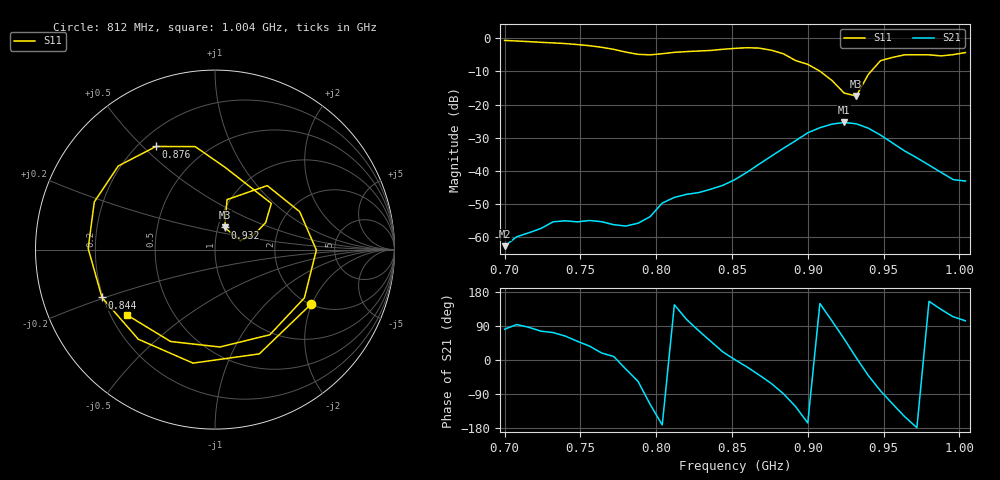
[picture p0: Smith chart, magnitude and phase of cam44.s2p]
# Hz S RI R 50
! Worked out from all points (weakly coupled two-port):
!   39 points, 700 MHz to 1.004 GHz, reference 50 ohm
!   highest |S21| = -25.41 dB at 924 MHz (marker M1); lowest = -62.8 dB at 700 MHz (marker M2)
!   lowest |S11| = -17.4 dB at 932 MHz (marker M3), VSWR 1.31, Z = 53.9 + j13.5 ohm
!   |S11| at or under -10 dB: 908.3 MHz to 941.7 MHz (33.4 MHz wide, 3.61 % of centre)
!   S12 and S22 are empty: the file has one direction only
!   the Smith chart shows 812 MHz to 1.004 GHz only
!   S11 on the Smith chart (normalised r, x): 812 MHz: 2.02, -1.97; 844 MHz: 0.20, -0.20; 876 MHz: 0.27, +0.55; 932 MHz: 1.08, +0.27; 1.004 GHz: 0.27, -0.31
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7e8  0.7646 0.5296  0.00011 0.000718  0 0  0 0
7.24e8  0.8328 -0.2595  0.000324 0.00131  0 0  0 0
7.4e8  0.4449 -0.706  0.000794 0.00157  0 0  0 0
7.56e8  -0.1958 -0.7499  0.00142 0.00106  0 0  0 0
7.72e8  -0.6559 -0.188  0.00151 0.000245  0 0  0 0
7.8e8  -0.5754 0.2305  0.00134 -0.000599  0 0  0 0
7.88e8  -0.2201 0.5303  0.000898 -0.00134  0 0  0 0
7.96e8  0.259 0.5007  -0.00092 -0.00181  0 0  0 0
8.04e8  0.569 0.1429  -0.00322 -0.000482  0 0  0 0
8.12e8  0.5355 -0.3035  -0.00327 0.00223  0 0  0 0
8.28e8  -0.1225 -0.6324  0.00102 0.00457  0 0  0 0
8.44e8  -0.63 -0.2664  0.00562 0.00219  0 0  0 0
8.52e8  -0.7066 0.0068  0.00736 8.1e-05  0 0  0 0
8.76e8  -0.3288 0.5746  0.00781 -0.0147  0 0  0 0
9e8  0.3137 0.2576  -0.0364 -0.00897  0 0  0 0
9.08e8  0.2822 0.1502  -0.0384 0.023  0 0  0 0
9.24e8  0.1403 0.0506  0.0302 0.0443  0 0  0 0
9.32e8  0.0537 0.1233  0.051 0.00536  0 0  0 0
9.48e8  0.2909 0.3565  0.00511 -0.0342  0 0  0 0
9.56e8  0.4717 0.2114  -0.0115 -0.0235  0 0  0 0
9.8e8  0.3052 -0.4747  -0.011 0.00518  0 0  0 0
1.004e9  -0.4893 -0.3648  -0.00162 0.00681  0 0  0 0
